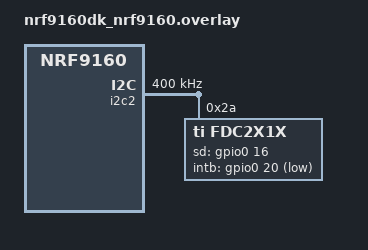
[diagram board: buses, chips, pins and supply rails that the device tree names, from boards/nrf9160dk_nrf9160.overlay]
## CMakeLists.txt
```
#
#  Copyright (c) 2020 arithmetics.io
#
#  SPDX-License-Identifier: Apache-2.0

cmake_minimum_required(VERSION 3.20.0)
find_package(Zephyr REQUIRED HINTS $ENV{ZEPHYR_BASE})
project(fdc2x1x)

FILE(GLOB app_sources src/*.c)
target_sources(app PRIVATE ${app_sources})
```

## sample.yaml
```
sample:
  name: fdc2x1x sample
  description: FDC2X1X sample application
tests:
  sample.sensor.fdc2x1x:
    harness: sensor
    tags: sensors
    platform_allow: nrf9160dk/nrf9160
    integration_platforms:
      - nrf9160dk/nrf9160
```

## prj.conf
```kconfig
CONFIG_LOG=y
CONFIG_I2C=y
CONFIG_SENSOR=y
CONFIG_PM_DEVICE=n
CONFIG_REQUIRES_FULL_LIBC=y
CONFIG_REQUIRES_FLOAT_PRINTF=y

CONFIG_FDC2X1X_TRIGGER_GLOBAL_THREAD=n
```

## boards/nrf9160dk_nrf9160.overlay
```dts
/*
 * Copyright (c) 2020 arithmetics.io
 *
 * SPDX-License-Identifier: Apache-2.0
 */

&i2c2 {
	clock-frequency = <I2C_BITRATE_FAST>;
	fdc2x1x@2A {
		compatible = "ti,fdc2x1x";
		reg = <0x2A>;
		sd-gpios = <&gpio0 16 GPIO_ACTIVE_HIGH>;
		intb-gpios = <&gpio0 20 GPIO_ACTIVE_LOW>;

		autoscan;
		deglitch = <5>;
		fref = <43360>;

		channel_0 {
			rcount = <7499>;
			settlecount = <48>;
			fref-divider = <1>;
			idrive = <10>;
			fin-sel = <2>;
			inductance = < 18 >;
		};

		channel_1 {
			rcount = <7499>;
			settlecount = <48>;
			fref-divider = <1>;
			idrive = <10>;
			fin-sel = <2>;
			inductance = <18>;
		};
	};
};
```

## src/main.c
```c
/*
 * Copyright (c) 2020 arithmetics.io
 *
 * SPDX-License-Identifier: Apache-2.0
 */

#include <zephyr/kernel.h>
#include <zephyr/device.h>
#include <zephyr/sys/util.h>
#include <zephyr/drivers/sensor.h>
#include <zephyr/drivers/sensor/fdc2x1x.h>
#include <stdio.h>

#define CH_BUF_INIT(m)          {},

K_SEM_DEFINE(sem, 0, 1);

#ifdef CONFIG_FDC2X1X_TRIGGER
static void trigger_handler(const struct device *dev,
			    const struct sensor_trigger *trigger)
{
	switch (trigger->type) {
	case SENSOR_TRIG_DATA_READY:
		if (sensor_sample_fetch(dev)) {
			printk("Sample fetch error\n");
			return;
		}
		k_sem_give(&sem);
		break;
	default:
		printk("Unknown trigger\n");
	}
}
#endif

#ifdef CONFIG_PM_DEVICE
static void pm_info(enum pm_device_action action, int status)
{
	switch (action) {
	case PM_DEVICE_ACTION_RESUME:
		printk("Enter ACTIVE_STATE ");
		break;
	case PM_DEVICE_ACTION_SUSPEND:
		printk("Enter SUSPEND_STATE ");
		break;
	case PM_DEVICE_ACTION_TURN_OFF:
		printk("Enter OFF_STATE ");
		break;
	default:
		printk("Unknown power state");
	}

	if (status) {
		printk("Fail\n");
	} else {
		printk("Success\n");
	}
}
#endif

#define DEVICE_NODE DT_COMPAT_GET_ANY_STATUS_OKAY(ti_fdc2x1x)

int main(void)
{
	struct sensor_value ch_buf[] = {
		DT_FOREACH_CHILD(DEVICE_NODE, CH_BUF_INIT)
	};

	uint8_t num_ch = ARRAY_SIZE(ch_buf);
	enum sensor_channel base;
	int i;

	const struct device *const dev = DEVICE_DT_GET(DEVICE_NODE);

	if (!device_is_ready(dev)) {
		printk("Device %s is not ready\n", dev->name);
		return 0;
	}

#ifdef CONFIG_FDC2X1X_TRIGGER
	struct sensor_trigger trig = {
		.type = SENSOR_TRIG_DATA_READY,
		.chan = SENSOR_CHAN_ALL,
	};

	if (sensor_trigger_set(dev, &trig, trigger_handler)) {
		printk("Could not set trigger\n");
		return 0;
	}
#endif

#ifdef CONFIG_PM_DEVICE
	/* Testing the power modes */
	enum pm_device_action p_action;
	int ret;

	p_action = PM_DEVICE_ACTION_SUSPEND;
	ret = pm_device_action_run(dev, p_action);
	pm_info(p_action, ret);

	p_action = PM_DEVICE_ACTION_TURN_OFF;
	ret = pm_device_action_run(dev, p_action);
	pm_info(p_action, ret);

	p_action = PM_DEVICE_ACTION_RESUME;
	ret = pm_device_action_run(dev, p_action);
	pm_info(p_action, ret);
#endif

	while (1) {
#ifdef CONFIG_FDC2X1X_TRIGGER
		k_sem_take(&sem, K_FOREVER);
#else
		if (sensor_sample_fetch(dev) < 0) {
			printk("Sample fetch failed\n");
			return 0;
		}
#endif
		base = SENSOR_CHAN_FDC2X1X_FREQ_CH0;
		for (i = 0; i < num_ch; i++) {
			sensor_channel_get(dev, base++, &ch_buf[i]);
			printf("ch%d: %f MHz ", i, sensor_value_to_double(&ch_buf[i]));
		}
		printf("\n");

		base = SENSOR_CHAN_FDC2X1X_CAPACITANCE_CH0;
		for (i = 0; i < num_ch; i++) {
			sensor_channel_get(dev, base++, &ch_buf[i]);
			printf("ch%d: %f pF ", i, sensor_value_to_double(&ch_buf[i]));
		}
		printf("\n\n");


#ifdef CONFIG_PM_DEVICE
		p_action = PM_DEVICE_ACTION_TURN_OFF;
		ret = pm_device_action_run(dev, p_action);
		pm_info(p_action, ret);
		k_sleep(K_MSEC(2000));
		p_action = PM_DEVICE_ACTION_RESUME;
		ret = pm_device_action_run(dev, p_action);
		pm_info(p_action, ret);
#elif CONFIG_FDC2X1X_TRIGGER_NONE
		k_sleep(K_MSEC(100));
#endif
	}
}
```
